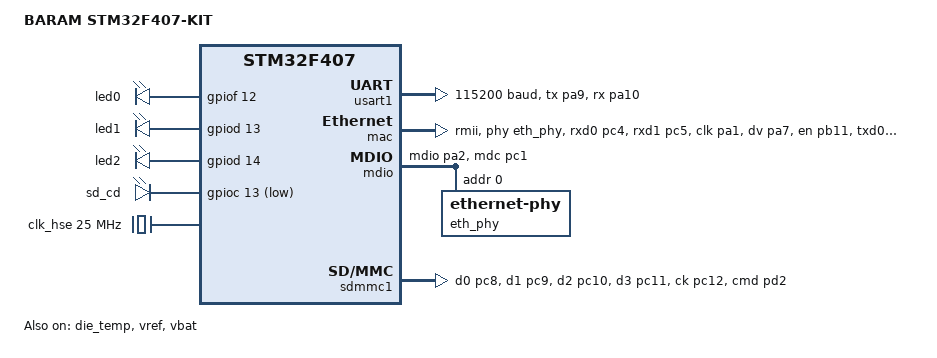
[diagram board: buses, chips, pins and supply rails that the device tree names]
/*
 * Copyright (c) 2017 Linaro Limited
 *
 * SPDX-License-Identifier: Apache-2.0
 */

/dts-v1/;
#include <st/f4/stm32f407Xg.dtsi>
#include <st/f4/stm32f407z(e-g)tx-pinctrl.dtsi>
#include <zephyr/dt-bindings/input/input-event-codes.h>

/ {
	model = "BARAM STM32F407-KIT";
	compatible = "st,stm32f407_kit";

	chosen {
		zephyr,sram = &sram0;
		zephyr,flash = &flash0;
		zephyr,ccm = &ccm0;
		zephyr,console = &usart1;
	};

	leds {
		compatible = "gpio-leds";

		led0: led_0 {
			gpios = <&gpiof 12 GPIO_ACTIVE_HIGH>;
		};

		led1: led_1 {
			gpios = <&gpiod 13 GPIO_ACTIVE_HIGH>;
		};
    
		led2: led_2 {
			gpios = <&gpiod 14 GPIO_ACTIVE_HIGH>;
		};        
	};

  gpio_pins {    		
		compatible = "gpio-leds";
    sd_cd: sd_cd {			
      gpios = <&gpioc 13 GPIO_ACTIVE_LOW>;     
    };
  };

};

&clk_lsi {
	status = "okay";
};

&clk_hse {
	clock-frequency = <DT_FREQ_M(25)>;
	status = "okay";
};

&pll {
	div-m = <25>;
	mul-n = <336>;
	div-p = <2>;
	div-q = <7>;
	clocks = <&clk_hse>;
	status = "okay";
};

// &plli2s {
//   div-m = <25>;      /* 25 / 25 = 1MHz */
//   mul-n = <192>;    /* 1 * 192 = 192MHz (VCO_i2s) */
//   div-q = <4>;      /* 192 / 4 = 48MHz (최종 출력) */
//   status = "okay";
// };

&rcc {
	clocks = <&pll>;
	clock-frequency = <DT_FREQ_M(168)>;
	ahb-prescaler = <1>;
	apb1-prescaler = <4>;
	apb2-prescaler = <2>;
};

&die_temp {
	status = "okay";
};

&vref {
	status = "okay";
};

&vbat {
	status = "okay";
};

&dma1 {
	status = "okay";
};

&usart1 {
	pinctrl-0 = <&usart1_tx_pa9 &usart1_rx_pa10>;
	pinctrl-names = "default";
	current-speed = <115200>;
	status = "okay";
};

&mac {
	status = "okay";
	pinctrl-0 = < &eth_rxd0_pc4
                &eth_rxd1_pc5
                &eth_ref_clk_pa1
                &eth_crs_dv_pa7
                &eth_tx_en_pb11
                &eth_txd0_pg13
                &eth_txd1_pg14>;
	pinctrl-names = "default";
	phy-connection-type = "rmii";
	phy-handle = <&eth_phy>;
};

&mdio {
	status = "okay";
	pinctrl-0 = <&eth_mdio_pa2 &eth_mdc_pc1>;
	pinctrl-names = "default";

	eth_phy: ethernet-phy@0 {
		compatible = "ethernet-phy";
		reg = <0x00>;
	};
};

&sdmmc1 {
	clocks = <&rcc STM32_CLOCK(APB2, 11)>,
           <&rcc STM32_SRC_PLL_Q I2S_SEL(0)>;
	status = "okay";
	pinctrl-0 = <&sdio_d0_pc8
		     &sdio_d1_pc9
		     &sdio_d2_pc10
		     &sdio_d3_pc11
		     &sdio_ck_pc12
		     &sdio_cmd_pd2>;  
	pinctrl-names = "default";
  // bus-width = <4>;
  clk-div = <2>;
	disk-name = "SD";
};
